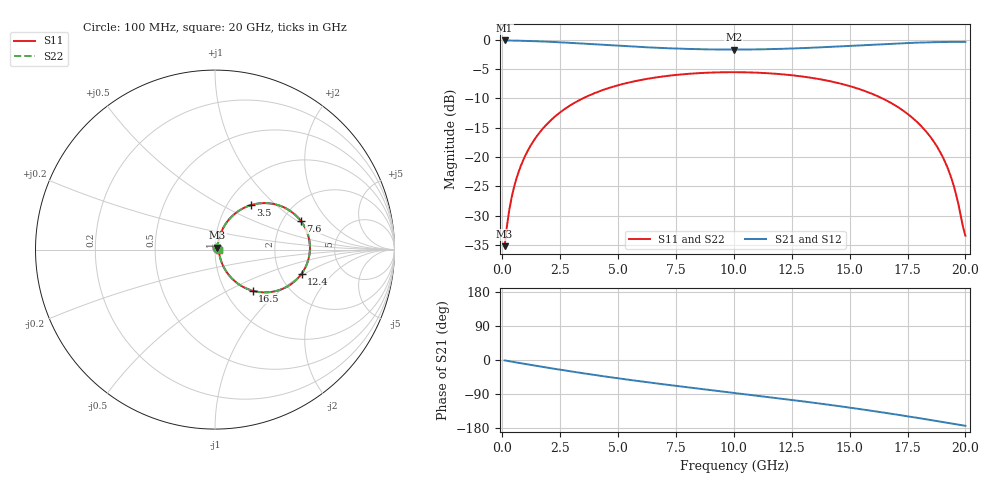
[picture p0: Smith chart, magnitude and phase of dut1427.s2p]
! Touchstone file exported from HFSS 2026.1.0
!  File:  C:/ffzhzh/LocalFiles/Ansys_Project_Files/temp_train_TSV_RDL_1427_1783355291_48288.aedt
!  Generated:  12:40:25 AM Jul  7, 2026
!  Design:  TSV_RDL
!  Project:  temp_train_TSV_RDL_1427_1783355291_48288
! Variables:
!  h_bsmrdl = 3.01um
!  h_ox = 20um
!  h_rdl = 5um
!  h_sub = 68.57um
!  h_tmrdl = 5.41um
!  h_tsv = 68.57um
!  h_via = 3um
!  l_bsmrdl = 291.56um
!  l_sub = 2963.55um
!  l_tmrdl = 393.14um
!  m_sub = 200um
!  pitch = 44.22um
!  r_tsv = 5.82um
!  s_tmrdl = 10um
!  w_bsmrdl = 23.69um
!  w_sub = 500um
!  w_tmrdl = 15.08um
!  x_tsv_center1 = 400.68um
!  x_tsv_center2 = 715.93um
!  x_tsv_center3 = 1124.15um
!  x_tsv_center4 = 1439.4um
!  x_tsv_center5 = 1847.62um
!  x_tsv_center6 = 2162.87um
# GHz S MA R 50.000000
! Terminal data exported
! Port[1] = TM_RDL1_1_T1
! Port[2] = TM_RDL5_1_T1
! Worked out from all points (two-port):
!   200 points, 100 MHz to 20 GHz, reference 50 ohm
!   highest |S21| = -0.12 dB at 100 MHz (marker M1); lowest = -1.7 dB at 10 GHz (marker M2)
!   |S21| within 3 dB of the highest: start of sweep to end of sweep
!   lowest |S11| = -35.2 dB at 100 MHz (marker M3), VSWR 1.04, Z = 51.4 + j1.1 ohm
!   |S11| at or under -10 dB: start of sweep to 3.477 GHz; 16.41 GHz to end of sweep
!   |S22| runs from -35.2 to -5.5 dB; largest |S21 - S12| = 2.4e-14
!   S11 on the Smith chart (normalised r, x): 100 MHz: 1.03, +0.02; 3.5 GHz: 1.28, +0.70; 7.6 GHz: 2.49, +1.08; 12.4 GHz: 2.62, -0.94; 16.5 GHz: 1.33, -0.68; 20 GHz: 1.04, -0.01
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0.1  0.01739 38.0  0.9864 -1.1  0.9864 -1.1  0.01739 38.0
! Gamma 0 0 0 0
! Port Impedance 50 0 50 0
0.3  0.03523 62.6  0.9851 -3.2  0.9851 -3.2  0.03523 62.6
0.5  0.05468 68.5  0.9833 -5.3  0.9833 -5.3  0.05468 68.5
0.8  0.08406 70.6  0.9804 -8.5  0.9804 -8.5  0.08406 70.6
1.1  0.1133 70.0  0.9769 -11.6  0.9769 -11.6  0.1133 70.0
2.1  0.2063 63.2  0.96 -21.7  0.96 -21.7  0.2063 63.2
3.5  0.3179 51.2  0.9271 -35.1  0.9271 -35.1  0.3179 51.2
5  0.4093 38.6  0.8896 -48.3  0.8896 -48.3  0.4093 38.6
6.8  0.4825 24.6  0.8523 -62.9  0.8523 -62.9  0.4825 24.6
7.6  0.5035 18.7  0.8404 -69.0  0.8404 -69.0  0.5035 18.7
10  0.5292 1.6  0.8249 -86.7  0.8249 -86.7  0.5292 1.6
10.1  0.5291 0.9  0.8249 -87.5  0.8249 -87.5  0.5291 0.9
12.4  0.5009 -15.5  0.8408 -104.6  0.8408 -104.6  0.5009 -15.5
13.4  0.4722 -23.0  0.8558 -112.4  0.8558 -112.4  0.4722 -23.0
15  0.403 -35.4  0.8869 -125.6  0.8869 -125.6  0.403 -35.4
16.5  0.3102 -47.6  0.9191 -139.0  0.9191 -139.0  0.3102 -47.6
16.7  0.2958 -49.2  0.9232 -140.9  0.9232 -140.9  0.2958 -49.2
18  0.1916 -59.2  0.946 -153.4  0.946 -153.4  0.1916 -59.3
18.9  0.1112 -63.5  0.956 -162.4  0.956 -162.4  0.1112 -63.6
19.2  0.08375 -62.8  0.958 -165.5  0.958 -165.5  0.08372 -63.0
19.5  0.05659 -58.6  0.9592 -168.5  0.9592 -168.5  0.05653 -58.8
20  0.02132 -7.9  0.9595 -173.6  0.9595 -173.6  0.02115 -8.1
